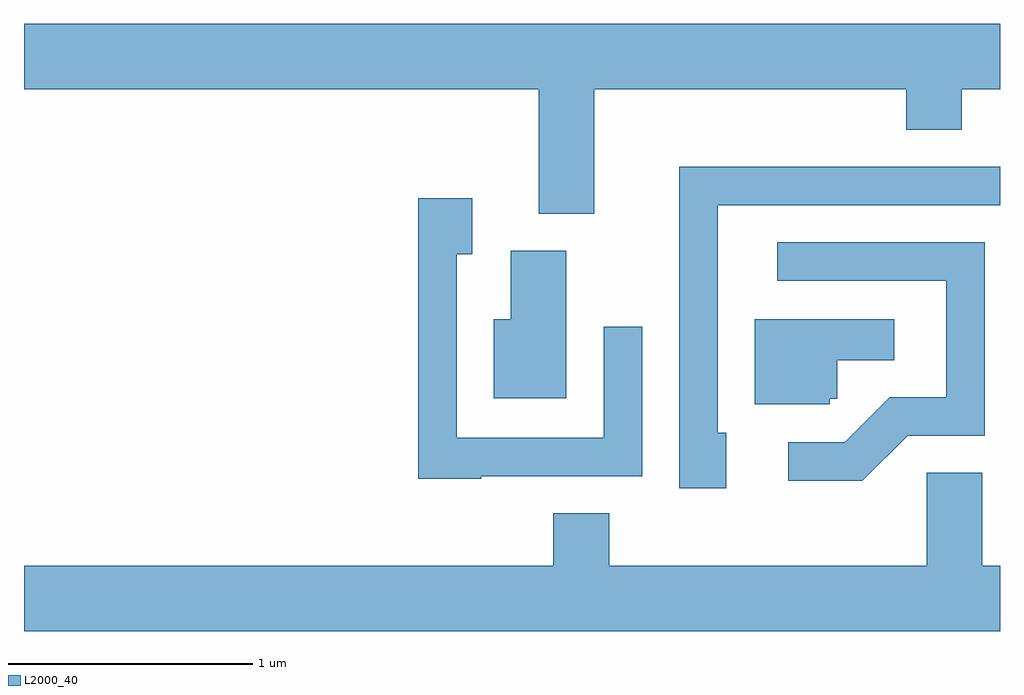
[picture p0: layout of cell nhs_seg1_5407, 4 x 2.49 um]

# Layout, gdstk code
import gdstk
lib = gdstk.Library(unit=1e-6, precision=1e-09)
def P(c, l, *ps):  # polygons
    for p in ps: c.add(gdstk.Polygon(p, *l))
L2000_40 = (2000, 40)

nhs_seg1_5407 = lib.new_cell('nhs_seg1_5407')
P(nhs_seg1_5407, L2000_40, [(349.949,932.876),(351.226,932.876),(351.226,932.711),(351.454,932.711),(351.454,932.876),(351.611,932.876),(351.611,933.144),(347.611,933.144),(347.611,932.876),(349.721,932.876),(349.721,932.366),(349.949,932.366)],
  [(350.489,931.469),(350.454,931.469),(350.454,932.401),(351.611,932.401),(351.611,932.559),(350.296,932.559),(350.296,931.241),(350.489,931.241)],
  [(349.485,931.291),(350.144,931.291),(350.144,931.903),(349.986,931.903),(349.986,931.449),(349.384,931.449),(349.384,932.201),(349.449,932.201),(349.449,932.429),(349.226,932.429),(349.226,931.281),(349.485,931.281)],
  [(351.232,931.456),(351.549,931.456),(351.549,932.249),(350.698,932.249),(350.698,932.091),(351.391,932.091),(351.391,931.614),(351.159,931.614),(350.974,931.429),(350.743,931.429),(350.743,931.271),(351.047,931.271)],
  [(349.834,932.214),(349.606,932.214),(349.606,931.934),(349.536,931.934),(349.536,931.611),(349.834,931.611)],
  [(350.914,931.607),(350.944,931.607),(350.944,931.766),(351.178,931.766),(351.178,931.934),(350.606,931.934),(350.606,931.586),(350.914,931.586)],
  [(351.611,930.924),(351.539,930.924),(351.539,931.304),(351.311,931.304),(351.311,930.924),(350.009,930.924),(350.009,931.139),(349.781,931.139),(349.781,930.924),(347.611,930.924),(347.611,930.656),(351.611,930.656)])

lib.write_gds('nhs_seg1_5407.gds')
